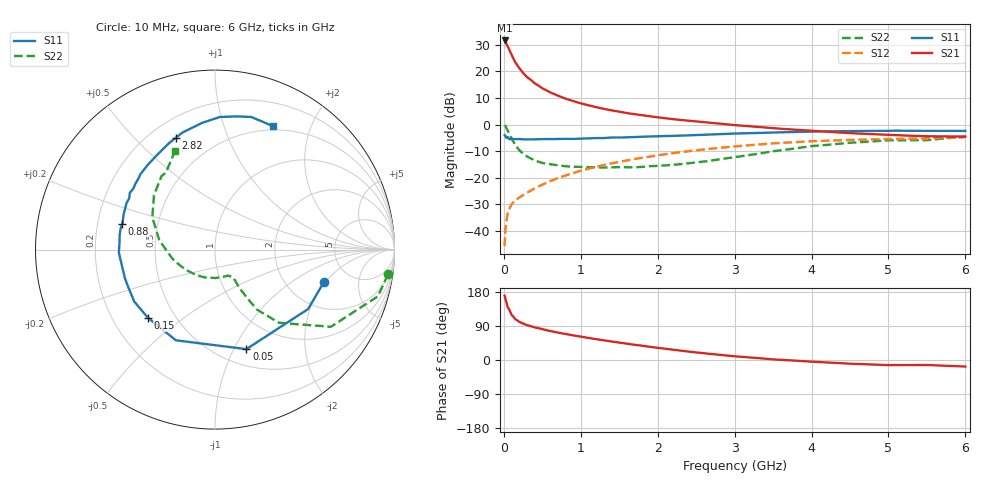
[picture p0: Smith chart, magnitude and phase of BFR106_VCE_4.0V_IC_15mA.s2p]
! Infineon Technologies  Discrete & RF Semiconductors
! BFR106
! VCE =  4.0 V,  IC =  15 mA
! Common Emitter S-Parameters:  Nov 2015
# GHz  S  MA  R  50
!  f  S11  S21  S12  S22
! GHz  MAG  ANG  MAG  ANG  MAG  ANG  MAG  ANG
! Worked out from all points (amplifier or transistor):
!   210 points, 10 MHz to 6 GHz, reference 50 ohm
!   highest |S21| = 31.6 dB at 10 MHz (marker M1)
!   |S21| within 3 dB of that: start of sweep to 62.89 MHz
!   unconditionally stable (mu >= 1): 409.2 MHz to 2.154 GHz; 5.404 GHz to end of sweep
!   at 185 MHz: K = 0.68, MSG = 24.8 dB, |S12| = -27.7 dB
!   at 1.52 GHz: K = 1.07, MAG = 7.8 dB, |S12| = -13.9 dB
!   at 6 GHz: K = 1.00, MAG = -0.3 dB, |S12| = -4.7 dB
!   S11 on the Smith chart (normalised r, x): 10 MHz: 3.17, -1.94; 50 MHz: 0.67, -1.12; 150 MHz: 0.35, -0.37; 880 MHz: 0.31, +0.13; 2.82 GHz: 0.30, +0.66; 6 GHz: 0.45, +1.47
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0.01  0.6327 -16.8  37.87 169.7  0.0052 84.2  0.9739 -8.1
0.02  0.6152 -32.6  36.21 161.3  0.0104 76.4  0.9443 -16.0
0.05  0.5814 -72.5  29.45 139.3  0.0216 61.9  0.7753 -33.7
0.1  0.5503 -113.3  20.25 119.0  0.0317 52.8  0.5408 -48.9
0.15  0.5329 -134.5  14.63 107.4  0.0378 49.9  0.4082 -55.0
0.2  0.535 -147.3  11.48 100.7  0.0424 52.1  0.3323 -56.3
0.24  0.5275 -154.2  9.717 96.8  0.0464 53.1  0.2905 -56.9
0.26  0.5263 -157.3  8.991 95.0  0.0484 53.9  0.2743 -57.2
0.3  0.5267 -162.4  7.825 91.9  0.0523 56.0  0.2514 -57.6
0.4  0.5275 -172.0  5.968 86.1  0.063 59.0  0.2114 -57.0
0.5  0.536 -178.2  4.8 81.1  0.0743 61.4  0.19 -56.7
0.6  0.5328 176.5  4.036 76.5  0.0863 62.9  0.1796 -58.0
0.7  0.5372 171.5  3.491 72.3  0.0979 63.8  0.1718 -60.0
0.88  0.5364 164.3  2.81 65.8  0.1205 64.0  0.1618 -63.6
1.02  0.5457 158.7  2.455 61.0  0.138 63.8  0.1599 -68.5
1.4  0.5704 146.3  1.843 49.0  0.1863 61.6  0.1576 -83.9
2.02  0.6016 128.9  1.354 31.5  0.2667 54.7  0.168 -116.5
2.82  0.6601 109.4  1.032 13.4  0.3668 43.5  0.2241 -160.6
3.1  0.6817 103.6  0.95 8.3  0.3987 39.1  0.2546 -173.5
4.1  0.7409 86.4  0.746 -5.4  0.49 23.0  0.4034 149.5
5.1  0.7642 73.5  0.63 -13.4  0.5379 8.9  0.5067 125.4
6  0.759 64.9  0.594 -17.3  0.5796 -1.6  0.5942 112.0
